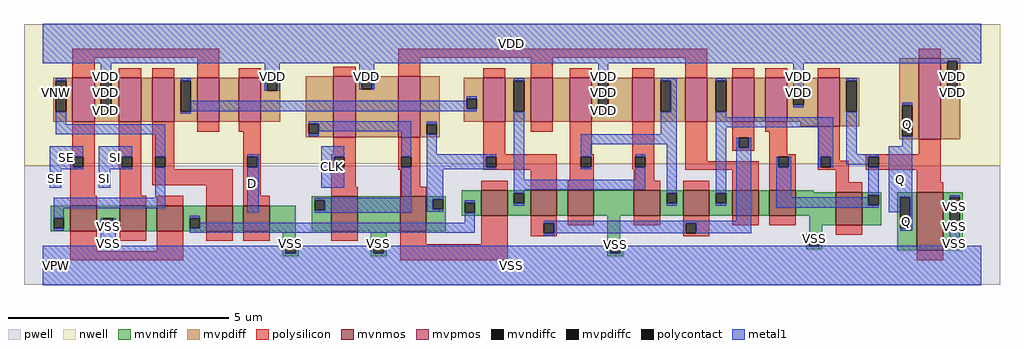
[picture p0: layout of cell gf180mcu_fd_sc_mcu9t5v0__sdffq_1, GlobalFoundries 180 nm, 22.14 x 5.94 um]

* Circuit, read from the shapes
.subckt gf180mcu_fd_sc_mcu9t5v0__sdffq_1 D SE SI CLK Q VDD VNW VPW VSS
XM1 VSS SE n1 VPW nfet_06v0 w=0.58u l=0.6u
XM2 n2 SI VSS VPW nfet_06v0 w=0.58u l=0.6u
XM3 n3 SE n2 VPW nfet_06v0 w=0.58u l=0.6u
XM4 n4 n1 n3 VPW nfet_06v0 w=0.58u l=0.6u
XM5 VSS D n4 VPW nfet_06v0 w=0.58u l=0.6u
XM6 VSS CLK n5 VPW nfet_06v0 w=0.79u l=0.6u
XM7 n6 n5 VSS VPW nfet_06v0 w=0.79u l=0.6u
XM8 n7 n5 n3 VPW nfet_06v0 w=0.58u l=0.6u
XM9 n8 n6 n7 VPW nfet_06v0 w=0.58u l=0.6u
XM10 VSS n9 n8 VPW nfet_06v0 w=0.58u l=0.6u
XM11 n9 n7 VSS VPW nfet_06v0 w=0.58u l=0.6u
XM12 n10 n6 n9 VPW nfet_06v0 w=0.58u l=0.6u
XM13 n11 n5 n10 VPW nfet_06v0 w=0.58u l=0.6u
XM14 VSS n12 n11 VPW nfet_06v0 w=0.58u l=0.6u
XM15 n12 n10 VSS VPW nfet_06v0 w=0.75u l=0.6u
XM16 VSS n12 Q VPW nfet_06v0 w=1.32u l=0.6u
XM17 VDD SE n1 VNW pfet_06v0 w=1u l=0.5u
XM18 n13 SI VDD VNW pfet_06v0 w=1u l=0.5u
XM19 n14 n1 n13 VNW pfet_06v0 w=1u l=0.5u
XM20 n15 SE n14 VNW pfet_06v0 w=1u l=0.5u
XM21 VDD D n15 VNW pfet_06v0 w=1u l=0.5u
XM22 VDD CLK n5 VNW pfet_06v0 w=1.38u l=0.5u
XM23 n6 n5 VDD VNW pfet_06v0 w=1.38u l=0.5u
XM24 n7 n6 n14 VNW pfet_06v0 w=1u l=0.5u
XM25 n16 n5 n7 VNW pfet_06v0 w=1u l=0.5u
XM26 VDD n9 n16 VNW pfet_06v0 w=1u l=0.5u
XM27 n9 n7 VDD VNW pfet_06v0 w=1u l=0.5u
XM28 n10 n5 n9 VNW pfet_06v0 w=1u l=0.5u
XM29 n17 n6 n10 VNW pfet_06v0 w=1u l=0.5u
XM30 VDD n12 n17 VNW pfet_06v0 w=1u l=0.5u
XM31 n12 n10 VDD VNW pfet_06v0 w=1.1u l=0.5u
XM32 VDD n12 Q VNW pfet_06v0 w=1.83u l=0.5u
.ends

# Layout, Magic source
magic
tech gf180mcuD
magscale 1 10
<< nwell >>
rect -86 462 4342 1094
rect -86 453 86 462
rect 3842 454 4342 462
rect 4170 453 4342 454
<< pwell >>
rect 1854 453 3542 462
rect -86 -86 4342 453
<< mvnmos >>
rect 124 156 244 272
rect 348 156 468 272
rect 516 156 636 272
rect 740 156 860 272
rect 908 156 1028 272
rect 1308 156 1428 314
rect 1620 156 1740 314
rect 1988 226 2108 342
rect 2212 226 2332 342
rect 2380 226 2500 342
rect 2680 226 2800 342
rect 2904 226 3024 342
rect 3128 226 3248 342
rect 3296 226 3416 342
rect 3596 183 3716 333
rect 3964 69 4084 333
<< mvpmos >>
rect 134 652 234 852
rect 345 652 445 852
rect 496 652 596 852
rect 700 652 800 852
rect 888 652 988 852
rect 1318 582 1418 858
rect 1612 582 1712 858
rect 1998 652 2098 852
rect 2212 652 2312 852
rect 2390 652 2490 852
rect 2674 652 2774 852
rect 2914 652 3014 852
rect 3128 652 3228 852
rect 3276 652 3376 852
rect 3516 632 3616 852
rect 3974 574 4074 940
<< mvndiff >>
rect 1220 297 1308 314
rect 36 215 124 272
rect 36 169 49 215
rect 95 169 124 215
rect 36 156 124 169
rect 244 215 348 272
rect 244 169 273 215
rect 319 169 348 215
rect 244 156 348 169
rect 468 156 516 272
rect 636 215 740 272
rect 636 169 665 215
rect 711 169 740 215
rect 636 156 740 169
rect 860 156 908 272
rect 1028 156 1148 272
rect 1220 251 1233 297
rect 1279 251 1308 297
rect 1220 156 1308 251
rect 1428 156 1620 314
rect 1740 301 1828 314
rect 1740 255 1769 301
rect 1815 255 1828 301
rect 1740 156 1828 255
rect 1900 285 1988 342
rect 1900 239 1913 285
rect 1959 239 1988 285
rect 1900 226 1988 239
rect 2108 329 2212 342
rect 2108 283 2137 329
rect 2183 283 2212 329
rect 2108 226 2212 283
rect 2332 226 2380 342
rect 2500 226 2680 342
rect 2800 329 2904 342
rect 2800 283 2829 329
rect 2875 283 2904 329
rect 2800 226 2904 283
rect 3024 329 3128 342
rect 3024 283 3053 329
rect 3099 283 3128 329
rect 3024 226 3128 283
rect 3248 226 3296 342
rect 3416 333 3496 342
rect 3416 226 3596 333
rect 1088 115 1148 156
rect 1088 102 1160 115
rect 1088 56 1101 102
rect 1147 56 1160 102
rect 1088 43 1160 56
rect 1488 102 1560 156
rect 1488 56 1501 102
rect 1547 56 1560 102
rect 1488 43 1560 56
rect 2560 114 2620 226
rect 3476 183 3596 226
rect 3716 320 3804 333
rect 3716 274 3745 320
rect 3791 274 3804 320
rect 3716 183 3804 274
rect 3876 309 3964 333
rect 3476 146 3536 183
rect 3464 133 3536 146
rect 3876 169 3889 309
rect 3935 169 3964 309
rect 2560 101 2632 114
rect 2560 55 2573 101
rect 2619 55 2632 101
rect 3464 87 3477 133
rect 3523 87 3536 133
rect 3464 74 3536 87
rect 3876 69 3964 169
rect 4084 309 4172 333
rect 4084 169 4113 309
rect 4159 169 4172 309
rect 4084 69 4172 169
rect 2560 42 2632 55
<< mvpdiff >>
rect 46 839 134 852
rect 46 699 59 839
rect 105 699 134 839
rect 46 652 134 699
rect 234 839 345 852
rect 234 699 263 839
rect 309 699 345 839
rect 234 652 345 699
rect 445 652 496 852
rect 596 839 700 852
rect 596 699 625 839
rect 671 699 700 839
rect 596 652 700 699
rect 800 652 888 852
rect 988 839 1076 852
rect 988 793 1017 839
rect 1063 793 1076 839
rect 988 652 1076 793
rect 1193 644 1318 858
rect 1193 598 1206 644
rect 1252 598 1318 644
rect 1193 582 1318 598
rect 1418 845 1612 858
rect 1418 799 1447 845
rect 1493 799 1612 845
rect 1418 582 1612 799
rect 1712 641 1800 858
rect 1910 758 1998 852
rect 1910 712 1923 758
rect 1969 712 1998 758
rect 1910 652 1998 712
rect 2098 839 2212 852
rect 2098 699 2137 839
rect 2183 699 2212 839
rect 2098 652 2212 699
rect 2312 652 2390 852
rect 2490 839 2674 852
rect 2490 699 2519 839
rect 2565 699 2674 839
rect 2490 652 2674 699
rect 2774 839 2914 852
rect 2774 699 2803 839
rect 2849 699 2914 839
rect 2774 652 2914 699
rect 3014 839 3128 852
rect 3014 699 3053 839
rect 3099 699 3128 839
rect 3014 652 3128 699
rect 3228 652 3276 852
rect 3376 776 3516 852
rect 3376 730 3405 776
rect 3451 730 3516 776
rect 3376 652 3516 730
rect 1712 595 1741 641
rect 1787 595 1800 641
rect 1712 582 1800 595
rect 3436 632 3516 652
rect 3616 839 3704 852
rect 3616 699 3645 839
rect 3691 699 3704 839
rect 3616 632 3704 699
rect 3886 727 3974 940
rect 3886 587 3899 727
rect 3945 587 3974 727
rect 3886 574 3974 587
rect 4074 927 4162 940
rect 4074 787 4103 927
rect 4149 787 4162 927
rect 4074 574 4162 787
<< mvndiffc >>
rect 49 169 95 215
rect 273 169 319 215
rect 665 169 711 215
rect 1233 251 1279 297
rect 1769 255 1815 301
rect 1913 239 1959 285
rect 2137 283 2183 329
rect 2829 283 2875 329
rect 3053 283 3099 329
rect 1101 56 1147 102
rect 1501 56 1547 102
rect 3745 274 3791 320
rect 3889 169 3935 309
rect 2573 55 2619 101
rect 3477 87 3523 133
rect 4113 169 4159 309
<< mvpdiffc >>
rect 59 699 105 839
rect 263 699 309 839
rect 625 699 671 839
rect 1017 793 1063 839
rect 1206 598 1252 644
rect 1447 799 1493 845
rect 1923 712 1969 758
rect 2137 699 2183 839
rect 2519 699 2565 839
rect 2803 699 2849 839
rect 3053 699 3099 839
rect 3405 730 3451 776
rect 1741 595 1787 641
rect 3645 699 3691 839
rect 3899 587 3945 727
rect 4103 787 4149 927
<< polysilicon >>
rect 134 944 800 984
rect 134 852 234 944
rect 345 852 445 896
rect 496 852 596 896
rect 700 852 800 944
rect 1612 944 3014 984
rect 888 852 988 896
rect 1318 858 1418 902
rect 1612 858 1712 944
rect 134 506 234 652
rect 124 493 234 506
rect 124 447 137 493
rect 183 447 234 493
rect 124 316 234 447
rect 345 493 445 652
rect 345 447 358 493
rect 404 447 445 493
rect 345 439 445 447
rect 348 316 445 439
rect 496 493 596 652
rect 700 608 800 652
rect 888 608 988 652
rect 496 447 509 493
rect 555 447 596 493
rect 496 436 596 447
rect 908 493 988 608
rect 1998 852 2098 896
rect 2212 852 2312 944
rect 2390 852 2490 896
rect 2674 852 2774 896
rect 2914 852 3014 944
rect 3974 940 4074 984
rect 3128 852 3228 896
rect 3276 852 3376 896
rect 3516 852 3616 896
rect 1318 506 1418 582
rect 908 447 926 493
rect 972 447 988 493
rect 496 364 860 436
rect 124 272 244 316
rect 348 272 468 316
rect 516 272 636 316
rect 740 272 860 364
rect 908 316 988 447
rect 1308 493 1418 506
rect 1308 447 1321 493
rect 1367 447 1418 493
rect 1308 358 1418 447
rect 1612 493 1712 582
rect 1612 447 1625 493
rect 1671 447 1712 493
rect 1612 435 1712 447
rect 1620 358 1712 435
rect 1998 506 2098 652
rect 2212 608 2312 652
rect 2390 506 2490 652
rect 1998 493 2332 506
rect 1998 447 2011 493
rect 2057 447 2332 493
rect 1998 434 2332 447
rect 908 272 1028 316
rect 1308 314 1428 358
rect 1620 314 1740 358
rect 1988 342 2108 386
rect 2212 342 2332 434
rect 2390 493 2500 506
rect 2390 447 2441 493
rect 2487 447 2500 493
rect 2390 386 2500 447
rect 2674 493 2774 652
rect 2674 447 2687 493
rect 2733 447 2774 493
rect 2674 436 2774 447
rect 2380 342 2500 386
rect 2680 386 2774 436
rect 2914 474 3014 652
rect 3128 581 3228 652
rect 3276 608 3376 652
rect 3128 535 3156 581
rect 3202 535 3228 581
rect 3128 522 3228 535
rect 3296 506 3376 608
rect 3296 493 3416 506
rect 2914 434 3248 474
rect 2680 342 2800 386
rect 2904 342 3024 386
rect 3128 342 3248 434
rect 3296 447 3337 493
rect 3383 447 3416 493
rect 3296 342 3416 447
rect 3516 493 3616 632
rect 3974 506 4074 574
rect 3516 447 3529 493
rect 3575 476 3616 493
rect 3732 493 4074 506
rect 3575 447 3656 476
rect 3516 434 3656 447
rect 3732 447 3745 493
rect 3791 447 4074 493
rect 3732 434 4074 447
rect 3596 377 3656 434
rect 3964 377 4074 434
rect 3596 333 3716 377
rect 3964 333 4084 377
rect 124 64 244 156
rect 348 112 468 156
rect 516 64 636 156
rect 740 112 860 156
rect 908 112 1028 156
rect 124 24 636 64
rect 1308 112 1428 156
rect 1620 96 1740 156
rect 1988 96 2108 226
rect 2212 193 2332 226
rect 2212 147 2273 193
rect 2319 147 2332 193
rect 2380 182 2500 226
rect 2212 134 2332 147
rect 1620 24 2108 96
rect 2680 182 2800 226
rect 2904 193 3024 226
rect 2904 147 2917 193
rect 2963 147 3024 193
rect 3128 182 3248 226
rect 3296 182 3416 226
rect 2904 134 3024 147
rect 3596 139 3716 183
rect 3964 25 4084 69
<< polycontact >>
rect 137 447 183 493
rect 358 447 404 493
rect 509 447 555 493
rect 926 447 972 493
rect 1321 447 1367 493
rect 1625 447 1671 493
rect 2011 447 2057 493
rect 2441 447 2487 493
rect 2687 447 2733 493
rect 3156 535 3202 581
rect 3337 447 3383 493
rect 3529 447 3575 493
rect 3745 447 3791 493
rect 2273 147 2319 193
rect 2917 147 2963 193
<< metal1 >>
rect 0 927 4256 1098
rect 0 918 4103 927
rect 59 839 105 850
rect 59 642 105 699
rect 263 839 309 918
rect 263 688 309 699
rect 625 839 671 850
rect 1006 839 1074 918
rect 1006 793 1017 839
rect 1063 793 1074 839
rect 1436 845 1504 918
rect 1436 799 1447 845
rect 1493 799 1504 845
rect 2137 839 2183 850
rect 1923 758 1969 769
rect 671 712 1923 747
rect 671 701 1969 712
rect 625 688 671 699
rect 1206 644 1671 655
rect 59 596 555 642
rect 30 493 183 542
rect 30 447 137 493
rect 30 436 183 447
rect 254 493 404 542
rect 254 447 358 493
rect 254 436 404 447
rect 509 493 555 596
rect 1252 609 1671 644
rect 1206 587 1252 598
rect 30 354 82 436
rect 254 354 306 436
rect 509 307 555 447
rect 49 261 555 307
rect 926 493 978 504
rect 972 447 978 493
rect 49 215 95 261
rect 926 242 978 447
rect 1262 493 1367 542
rect 1262 447 1321 493
rect 1262 354 1367 447
rect 1625 493 1671 609
rect 1625 308 1671 447
rect 1233 297 1671 308
rect 1279 251 1671 297
rect 1233 240 1671 251
rect 1741 641 1787 652
rect 1741 504 1787 595
rect 1741 493 2057 504
rect 1741 447 2011 493
rect 1741 436 2057 447
rect 1741 301 1815 436
rect 1741 255 1769 301
rect 2137 390 2183 699
rect 2519 839 2565 918
rect 2519 688 2565 699
rect 2803 839 2875 850
rect 2849 699 2875 839
rect 2803 596 2875 699
rect 2441 550 2875 596
rect 2441 493 2487 550
rect 2441 436 2487 447
rect 2687 493 2733 504
rect 2687 390 2733 447
rect 2137 344 2733 390
rect 2137 329 2183 344
rect 1741 244 1815 255
rect 1913 285 1959 296
rect 2137 272 2183 283
rect 2829 329 2875 550
rect 2829 272 2875 283
rect 3053 839 3099 850
rect 3405 776 3451 918
rect 3405 719 3451 730
rect 3645 839 3691 850
rect 3053 673 3099 699
rect 4149 918 4256 927
rect 4103 776 4149 787
rect 3053 627 3586 673
rect 3053 329 3099 627
rect 3053 272 3099 283
rect 3145 535 3156 581
rect 3202 535 3213 581
rect 665 215 711 226
rect 49 158 95 169
rect 262 169 273 215
rect 319 169 330 215
rect 262 90 330 169
rect 1913 194 1959 239
rect 3145 204 3213 535
rect 3518 493 3586 627
rect 3326 447 3337 493
rect 3383 447 3394 493
rect 3518 447 3529 493
rect 3575 447 3586 493
rect 3645 504 3691 699
rect 3899 727 3945 738
rect 3899 542 3945 587
rect 3645 493 3791 504
rect 3645 458 3745 493
rect 3326 309 3394 447
rect 3745 320 3791 447
rect 3326 274 3745 309
rect 3326 263 3791 274
rect 3838 309 3945 542
rect 3838 242 3889 309
rect 711 169 1959 194
rect 665 148 1959 169
rect 2273 193 3213 204
rect 2319 147 2917 193
rect 2963 147 3213 193
rect 3935 169 3945 309
rect 3889 158 3945 169
rect 4113 309 4159 320
rect 2273 136 2319 147
rect 3477 133 3523 144
rect 1090 90 1101 102
rect 0 56 1101 90
rect 1147 90 1158 102
rect 1490 90 1501 102
rect 1147 56 1501 90
rect 1547 90 1558 102
rect 2562 90 2573 101
rect 1547 56 2573 90
rect 0 55 2573 56
rect 2619 90 2630 101
rect 2619 87 3477 90
rect 4113 90 4159 169
rect 3523 87 4256 90
rect 2619 55 4256 87
rect 0 -90 4256 55
<< labels >>
flabel metal1 s 1262 354 1367 542 0 FreeSans 200 0 0 0 CLK
port 4 nsew clock input
flabel metal1 s 926 242 978 504 0 FreeSans 200 0 0 0 D
port 1 nsew default input
flabel metal1 s 3899 542 3945 738 0 FreeSans 200 0 0 0 Q
port 5 nsew default output
flabel metal1 s 30 436 183 542 0 FreeSans 200 0 0 0 SE
port 2 nsew default input
flabel metal1 s 254 436 404 542 0 FreeSans 200 0 0 0 SI
port 3 nsew default input
flabel metal1 s 0 918 4256 1098 0 FreeSans 200 0 0 0 VDD
port 6 nsew power bidirectional abutment
flabel metal1 s 4113 215 4159 320 0 FreeSans 200 0 0 0 VSS
port 9 nsew ground bidirectional abutment
flabel nwell s 10 734 110 834 0 FreeSans 400 0 0 0 VNW
port 7 nsew power bidirectional
flabel pwell s 10 -50 110 50 0 FreeSans 400 0 0 0 VPW
port 8 nsew ground bidirectional
rlabel metal1 s 30 354 82 436 1 SE
port 2 nsew default input
rlabel metal1 s 254 354 306 436 1 SI
port 3 nsew default input
rlabel metal1 s 3838 242 3945 542 1 Q
port 5 nsew default output
rlabel metal1 s 3889 158 3945 242 1 Q
port 5 nsew default output
rlabel metal1 s 4103 799 4149 918 1 VDD
port 6 nsew power bidirectional abutment
rlabel metal1 s 3405 799 3451 918 1 VDD
port 6 nsew power bidirectional abutment
rlabel metal1 s 2519 799 2565 918 1 VDD
port 6 nsew power bidirectional abutment
rlabel metal1 s 1436 799 1504 918 1 VDD
port 6 nsew power bidirectional abutment
rlabel metal1 s 1006 799 1074 918 1 VDD
port 6 nsew power bidirectional abutment
rlabel metal1 s 263 799 309 918 1 VDD
port 6 nsew power bidirectional abutment
rlabel metal1 s 4103 793 4149 799 1 VDD
port 6 nsew power bidirectional abutment
rlabel metal1 s 3405 793 3451 799 1 VDD
port 6 nsew power bidirectional abutment
rlabel metal1 s 2519 793 2565 799 1 VDD
port 6 nsew power bidirectional abutment
rlabel metal1 s 1006 793 1074 799 1 VDD
port 6 nsew power bidirectional abutment
rlabel metal1 s 263 793 309 799 1 VDD
port 6 nsew power bidirectional abutment
rlabel metal1 s 4103 776 4149 793 1 VDD
port 6 nsew power bidirectional abutment
rlabel metal1 s 3405 776 3451 793 1 VDD
port 6 nsew power bidirectional abutment
rlabel metal1 s 2519 776 2565 793 1 VDD
port 6 nsew power bidirectional abutment
rlabel metal1 s 263 776 309 793 1 VDD
port 6 nsew power bidirectional abutment
rlabel metal1 s 3405 719 3451 776 1 VDD
port 6 nsew power bidirectional abutment
rlabel metal1 s 2519 719 2565 776 1 VDD
port 6 nsew power bidirectional abutment
rlabel metal1 s 263 719 309 776 1 VDD
port 6 nsew power bidirectional abutment
rlabel metal1 s 2519 688 2565 719 1 VDD
port 6 nsew power bidirectional abutment
rlabel metal1 s 263 688 309 719 1 VDD
port 6 nsew power bidirectional abutment
rlabel metal1 s 4113 144 4159 215 1 VSS
port 9 nsew ground bidirectional abutment
rlabel metal1 s 262 144 330 215 1 VSS
port 9 nsew ground bidirectional abutment
rlabel metal1 s 4113 102 4159 144 1 VSS
port 9 nsew ground bidirectional abutment
rlabel metal1 s 3477 102 3523 144 1 VSS
port 9 nsew ground bidirectional abutment
rlabel metal1 s 262 102 330 144 1 VSS
port 9 nsew ground bidirectional abutment
rlabel metal1 s 4113 101 4159 102 1 VSS
port 9 nsew ground bidirectional abutment
rlabel metal1 s 3477 101 3523 102 1 VSS
port 9 nsew ground bidirectional abutment
rlabel metal1 s 1490 101 1558 102 1 VSS
port 9 nsew ground bidirectional abutment
rlabel metal1 s 1090 101 1158 102 1 VSS
port 9 nsew ground bidirectional abutment
rlabel metal1 s 262 101 330 102 1 VSS
port 9 nsew ground bidirectional abutment
rlabel metal1 s 4113 90 4159 101 1 VSS
port 9 nsew ground bidirectional abutment
rlabel metal1 s 3477 90 3523 101 1 VSS
port 9 nsew ground bidirectional abutment
rlabel metal1 s 2562 90 2630 101 1 VSS
port 9 nsew ground bidirectional abutment
rlabel metal1 s 1490 90 1558 101 1 VSS
port 9 nsew ground bidirectional abutment
rlabel metal1 s 1090 90 1158 101 1 VSS
port 9 nsew ground bidirectional abutment
rlabel metal1 s 262 90 330 101 1 VSS
port 9 nsew ground bidirectional abutment
rlabel metal1 s 0 -90 4256 90 1 VSS
port 9 nsew ground bidirectional abutment
<< properties >>
string FIXED_BBOX 0 0 4256 1008
string GDS_END 312658
string GDS_FILE $PDKPATH/libs.ref/gf180mcu_fd_sc_mcu9t5v0/gds/gf180mcu_fd_sc_mcu9t5v0.gds
string GDS_START 303248
string LEFclass core
string LEFsite GF018hv5v_green_sc9
string LEFsymmetry X Y
<< end >>
